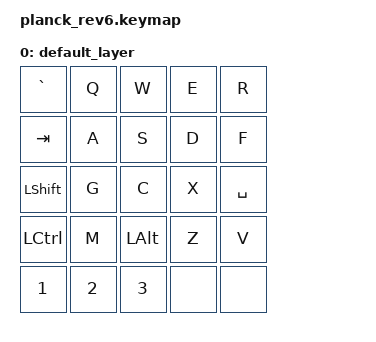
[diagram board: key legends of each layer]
/{
   keymap{
	compatible = "zmk,keymap";
	
	default_layer {
		bindings = <
			&kp `     &kp Q   &kp W    &kp E   &kp R
			&kp TAB   &kp A   &kp S    &kp D   &kp F
			&kp LSHFT &kp G   &kp C    &kp X   &kp SPACE
			&kp LCTRL &kp M   &kp LALT &kp Z   &kp V
			&kp 1 	  &kp 2   &kp 3    &none   &none
			>;
		};
	};
};
			
			
